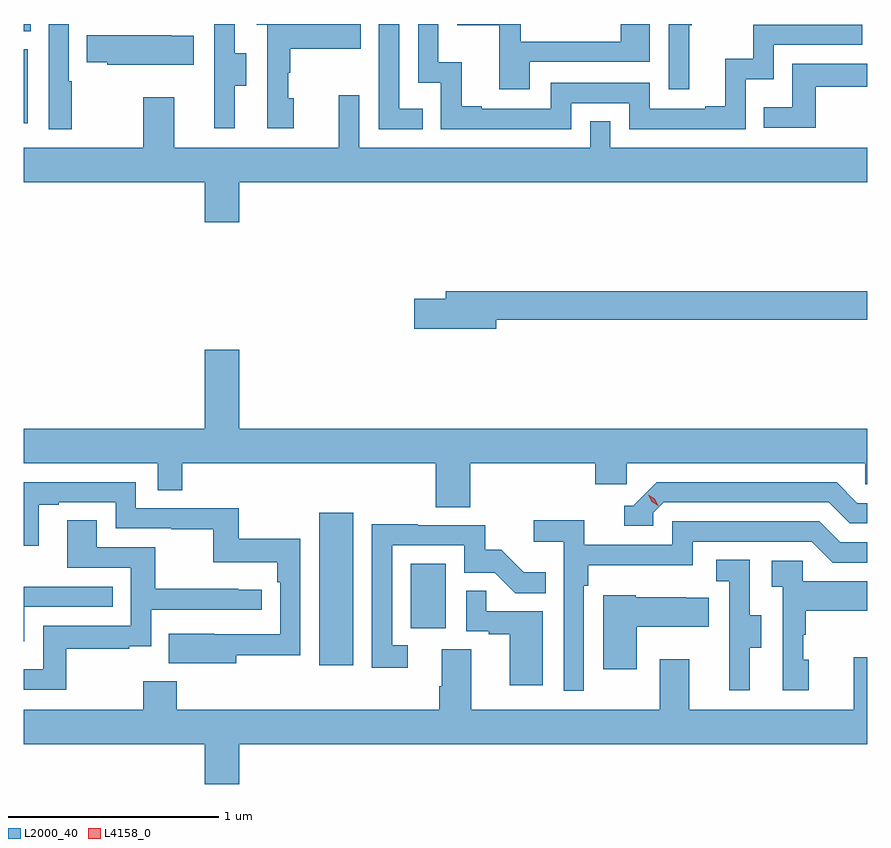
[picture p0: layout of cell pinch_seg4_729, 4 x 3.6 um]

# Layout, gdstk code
import gdstk
lib = gdstk.Library(unit=1e-6, precision=1e-09)
def R(c, l, rs):  # rectangles x0, y0, x1, y1
    for r in rs: c.add(gdstk.rectangle(r[:2], r[2:], *l))
def P(c, l, *ps):  # polygons
    for p in ps: c.add(gdstk.Polygon(p, *l))
L2000_40 = (2000, 40)
L4158_0 = (4158, 0)

pinch_seg4_729 = lib.new_cell('pinch_seg4_729')
R(pinch_seg4_729, L2000_40, [(860.855,827.832,861.016,828.553), (861.29,828.006,861.454,828.313), (859.454,830.4,859.474,830.751), (859.454,830.836,859.487,830.871)])
P(pinch_seg4_729, L2000_40, [(860.455,830.578),(860.509,830.578),(860.509,830.733),(860.454,830.733),(860.454,830.871),(860.358,830.871),(860.358,830.589),(860.357,830.589),(860.357,830.376),(860.455,830.376)],
  [(861.853,830.691),(862.422,830.691),(862.422,830.871),(862.285,830.871),(862.285,830.787),(861.811,830.787),(861.811,830.871),(861.51,830.871),(861.51,830.865),(861.709,830.865),(861.709,830.562),(861.853,830.562)],
  [(862.609,830.865),(862.621,830.865),(862.621,830.871),(862.512,830.871),(862.512,830.562),(862.609,830.562)],
  [(860.734,830.52),(860.709,830.52),(860.709,830.639),(860.719,830.639),(860.719,830.753),(861.053,830.753),(861.053,830.871),(860.559,830.871),(860.559,830.867),(860.61,830.867),(860.61,830.376),(860.734,830.376)],
  [(861.347,830.469),(861.234,830.469),(861.234,830.871),(861.138,830.871),(861.138,830.373),(861.347,830.373)],
  [(859.681,830.6),(859.668,830.6),(859.668,830.871),(859.572,830.871),(859.572,830.373),(859.681,830.373)],
  [(862.05,830.496),(862.326,830.496),(862.326,830.373),(862.878,830.373),(862.878,830.609),(863.01,830.609),(863.01,830.772),(863.429,830.772),(863.429,830.868),(862.914,830.868),(862.914,830.707),(862.781,830.707),(862.781,830.482),(862.685,830.482),(862.685,830.469),(862.422,830.469),(862.422,830.592),(861.954,830.592),(861.954,830.469),(861.625,830.469),(861.625,830.482),(861.53,830.482),(861.53,830.69),(861.42,830.69),(861.42,830.871),(861.324,830.871),(861.324,830.592),(861.432,830.592),(861.432,830.373),(862.05,830.373)],
  [(860.261,830.815),(860.153,830.815),(860.153,830.818),(859.753,830.818),(859.753,830.689),(859.851,830.689),(859.851,830.678),(860.261,830.678)],
  [(863.209,830.574),(863.454,830.574),(863.454,830.682),(863.098,830.682),(863.098,830.476),(862.963,830.476),(862.963,830.379),(863.209,830.379)],
  [(860.476,830.12),(863.454,830.12),(863.454,830.284),(862.236,830.284),(862.236,830.411),(862.14,830.411),(862.14,830.284),(861.045,830.284),(861.045,830.533),(860.948,830.533),(860.948,830.284),(860.167,830.284),(860.167,830.524),(860.02,830.524),(860.02,830.284),(859.454,830.284),(859.454,830.12),(860.312,830.12),(860.312,829.932),(860.476,829.932)],
  [(861.694,829.468),(863.454,829.468),(863.454,829.604),(861.455,829.604),(861.455,829.568),(861.306,829.568),(861.306,829.426),(861.694,829.426)],
  [(861.572,828.788),(862.163,828.788),(862.163,828.69),(862.314,828.69),(862.314,828.788),(863.445,828.788),(863.445,828.69),(863.454,828.69),(863.454,828.952),(860.476,828.952),(860.476,829.327),(860.312,829.327),(860.312,828.952),(859.454,828.952),(859.454,828.788),(860.091,828.788),(860.091,828.661),(860.207,828.661),(860.207,828.788),(861.407,828.788),(861.407,828.58),(861.572,828.58)],
  [(860.461,827.878),(860.766,827.878),(860.766,828.43),(860.473,828.43),(860.473,828.576),(859.986,828.576),(859.986,828.699),(859.454,828.699),(859.454,828.398),(859.525,828.398),(859.525,828.591),(859.621,828.591),(859.621,828.603),(859.89,828.603),(859.89,828.48),(860.155,828.48),(860.155,828.475),(860.352,828.475),(860.352,828.32),(860.657,828.32),(860.657,828.224),(860.67,828.224),(860.67,827.979),(860.357,827.979),(860.357,827.98),(860.143,827.98),(860.143,827.84),(860.461,827.84)],
  [(862.44,828.555),(862.488,828.603),(863.271,828.603),(863.37,828.504),(863.454,828.504),(863.454,828.6),(863.407,828.6),(863.308,828.699),(862.455,828.699),(862.344,828.588),(862.301,828.588),(862.301,828.492),(862.44,828.492)],
  [(859.657,827.91),(859.955,827.91),(859.955,827.921),(860.058,827.921),(860.058,828.093),(860.584,828.093),(860.584,828.189),(860.471,828.189),(860.471,828.194),(860.078,828.194),(860.078,828.39),(859.801,828.39),(859.801,828.518),(859.661,828.518),(859.661,828.294),(859.962,828.294),(859.962,828.018),(859.546,828.018),(859.546,827.812),(859.454,827.812),(859.454,827.715),(859.657,827.715)],
  [(862.11,828.209),(862.13,828.209),(862.13,828.305),(862.626,828.305),(862.626,828.417),(863.19,828.417),(863.289,828.318),(863.454,828.318),(863.454,828.414),(863.326,828.414),(863.227,828.513),(862.53,828.513),(862.53,828.402),(862.112,828.402),(862.112,828.518),(861.873,828.518),(861.873,828.416),(862.014,828.416),(862.014,827.709),(862.11,827.709)],
  [(861.274,827.925),(861.201,827.925),(861.201,828.399),(861.543,828.399),(861.543,828.27),(861.687,828.27),(861.785,828.172),(861.929,828.172),(861.929,828.271),(861.825,828.271),(861.718,828.378),(861.642,828.378),(861.642,828.495),(861.323,828.495),(861.323,828.5),(861.105,828.5),(861.105,827.82),(861.274,827.82)],
  [(862.897,827.914),(862.951,827.914),(862.951,828.069),(862.896,828.069),(862.896,828.332),(862.737,828.332),(862.737,828.229),(862.8,828.229),(862.8,827.925),(862.799,827.925),(862.799,827.712),(862.897,827.712)],
  [(863.176,827.856),(863.151,827.856),(863.151,827.975),(863.161,827.975),(863.161,828.089),(863.454,828.089),(863.454,828.229),(863.148,828.229),(863.148,828.327),(863.001,828.327),(863.001,828.203),(863.052,828.203),(863.052,827.712),(863.176,827.712)],
  [(859.458,828.108),(859.877,828.108),(859.877,828.204),(859.454,828.204),(859.454,827.945),(859.458,827.945)],
  [(861.916,828.087),(861.647,828.087),(861.647,828.185),(861.552,828.185),(861.552,827.991),(861.659,827.991),(861.659,827.979),(861.758,827.979),(861.758,827.736),(861.916,827.736)],
  [(862.36,828.014),(862.703,828.014),(862.703,828.151),(862.595,828.151),(862.595,828.154),(862.356,828.154),(862.356,828.163),(862.202,828.163),(862.202,827.811),(862.36,827.811)],
  [(860.476,827.456),(863.454,827.456),(863.454,827.869),(863.39,827.869),(863.39,827.62),(862.609,827.62),(862.609,827.86),(862.469,827.86),(862.469,827.62),(861.577,827.62),(861.577,827.906),(861.437,827.906),(861.437,827.732),(861.425,827.732),(861.425,827.62),(860.18,827.62),(860.18,827.755),(860.02,827.755),(860.02,827.62),(859.454,827.62),(859.454,827.456),(860.312,827.456),(860.312,827.268),(860.476,827.268)])
P(pinch_seg4_729, L4158_0, [(862.463,828.588),(862.432,828.607),(862.415,828.64),(862.415,828.64),(862.416,828.64),(862.447,828.621),(862.463,828.588),(862.463,828.588)])

lib.write_gds('pinch_seg4_729.gds')
